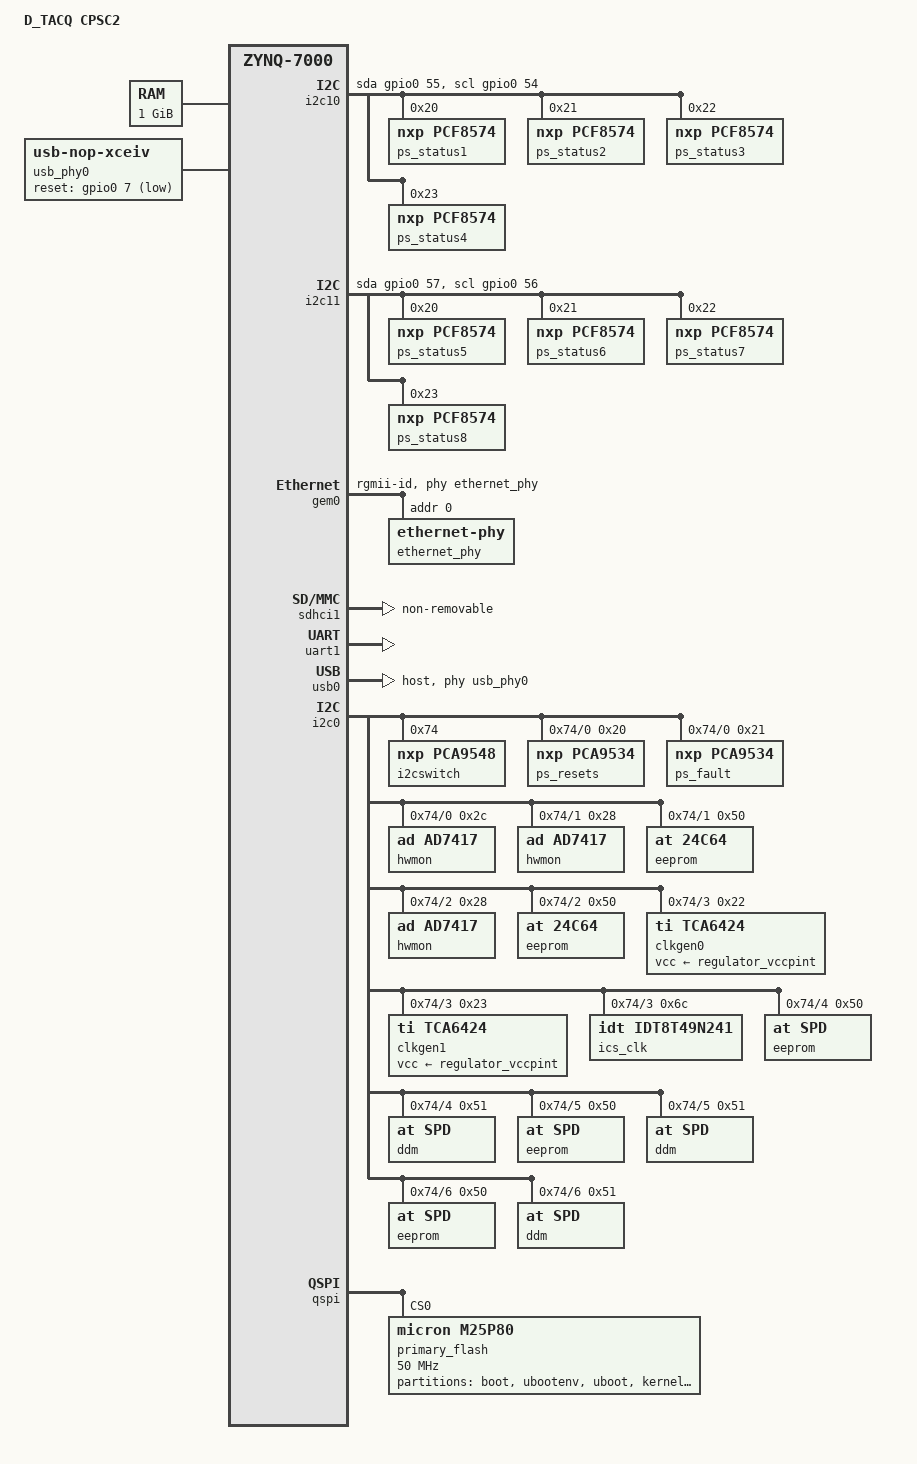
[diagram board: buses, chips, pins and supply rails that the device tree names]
/dts-v1/;
/include/ "zynq-7000.dtsi"

/ {
	model = "D_TACQ CPSC2";
	compatible = "avnet,picozed", "xlnx,zynq-7000";

	aliases {
		ethernet0 = &gem0;
		serial0 = &uart1;
		i2c0 = &i2c0;
		i2c10 = &i2c10;
		i2c11 = &i2c11;
	};

	memory {
		device_type = "memory";
		reg = <0x0 0x40000000>;
	};

	chosen {
		bootargs = "earlyprintk";
		stdout-path = "serial0:115200n8";
	};

	usb_phy0: phy0 {
		compatible = "usb-nop-xceiv";
		#phy-cells = <0>;
		reset-gpios = <&gpio0 7 1>; /* MIO 7, GPIO_ACTIVE_LOW */
	};
	
	
	/* Backplane i2c monitors WORKTODO.  */
	/* the gpio numbers will CERTAINLY need to update, maybe other items check i2c-gpio.txt */
		
	i2c10: i2c-gpioA {
		status = "okay";
		compatible = "i2c-gpio";		
		gpios = <&gpio0 55 0   /* SDA Bank2 EMIO 1 */
			 &gpio0 54 0>; /* SCL Bank2 EMIO 0 */
		i2c-gpio,delay-us = <2>;        /* ~100 kHz */
		#address-cells = <1>;
		#size-cells = <0>;

		ps_status1: gpio@20 {
			compatible="nxp,pcf8574";
			reg=<0x20>;
		};
		ps_status2: gpio@21 {
			compatible="nxp,pcf8574";
			reg=<0x21>;
		};
		ps_status3: gpio@22 {
			compatible="nxp,pcf8574";
			reg=<0x22>;
		};
		ps_status4: gpio@23 {
			compatible="nxp,pcf8574";
			reg=<0x23>;
		};
	};
	i2c11: i2c-gpioB {
		status = "okay";
		compatible = "i2c-gpio";
		gpios = <&gpio0 57 0   /* SDA Bank2 EMIO 3 */
			 &gpio0 56 0>; /* SCL Bank2 EMIO 2 */
		i2c-gpio,delay-us = <2>;        /* ~100 kHz */
		#address-cells = <1>;
		#size-cells = <0>;

		ps_status5: gpio@20 {
			compatible="nxp,pcf8574";
			reg=<0x20>;
		};
		ps_status6: gpio@21 {
			compatible="nxp,pcf8574";
			reg=<0x21>;
		};
		ps_status7: gpio@22 {
			compatible="nxp,pcf8574";
			reg=<0x22>;
		};
		ps_status8: gpio@23 {
			compatible="nxp,pcf8574";
			reg=<0x23>;
		};
	};	
};

&gem0 {
	status = "okay";
	phy-mode = "rgmii-id";
	phy-handle = <&ethernet_phy>;

	ethernet_phy: ethernet-phy@0 {
		device_type = "ethernet-phy";
		reg = <0>;
	};
};

&sdhci1 {
	status = "okay";
	/* SD1 is onnected to a non-removable eMMC flash device */
	non-removable;
};

&uart1 {
	status = "okay";
};

&usb0 {
	status = "okay";
	dr_mode = "host";
	usb-phy = <&usb_phy0>;
};

&i2c0 {
	status = "okay";
	
	i2c-reset = <&gpio0 46 0>;
	i2cswitch@74 {
		compatible = "nxp,pca9548";
		#address-cells = <1>;
		#size-cells = <0>;
		reg = <0x74>;
		
		i2c_mb: i2c@0 {
			#address-cells = <1>;
			#size-cells = <0>;
			reg = <0>;
		
			ps_resets: gpio@20 {
				compatible="nxp,pca9534";
				reg=<0x20>;				
			};
			ps_fault: gpio@21 {
				compatible="nxp,pca9534";
				reg=<0x21>;				
			};			
			hwmon@2c {
				compatible="ad,ad7417";
				reg=<0x2c>;
			};
		};
		i2c_site1: i2c@1  {
			#address-cells = <1>;
			#size-cells = <0>;
			reg = <0x1>;

			hwmon@48 {
				compatible="ad,ad7417";
				reg=<0x28>;
			};			
			eeprom@50 {
				compatible = "at,24c64";
				reg = <0x50>;
			};

		};
		i2c_site2: i2c@2  {
			#address-cells = <1>;
			#size-cells = <0>;
			reg = <0x2>;

			hwmon@48 {
				compatible="ad,ad7417";
				reg=<0x28>;
			};			
			eeprom@50 {
				compatible = "at,24c64";
				reg = <0x50>;
			};

		};
		i2c_clkgen: i2c@3 {
			#address-cells = <1>;
			#size-cells = <0>;
			reg = <0x3>;

			clkgen0: gpio@22 {
				compatible="ti,tca6424";
				vcc-supply = <&regulator_vccpint>;
				interrupt-parent = <&intc>;
				interrupts = <0 0>;
				reg=<0x22>;
			};
			clkgen1: gpio@23 {
				compatible="ti,tca6424";
				vcc-supply = <&regulator_vccpint>;
				interrupt-parent = <&intc>;
				interrupts = <0 0>;
				reg=<0x23>;
			};
			ics_clk: clk@6c {
				compatible="idt,idt8t49n241";
				reg=<0x6c>;
			};
		};
		i2c_sfp1: i2c@4 {
			#address-cells = <1>;
			#size-cells = <0>;
			reg = <0x4>;

			eeprom@50 {
				compatible = "at,spd";								
				reg = <0x50>;
				read-only;
			};
			ddm@51 {
				compatible = "at,spd";
				reg = <0x51>;
				read-only;													
			};			
		};
		i2c_sfp2: i2c@5 {
			#address-cells = <1>;
			#size-cells = <0>;
			reg = <0x5>;

			eeprom@50 {
				compatible = "at,spd";								
				reg = <0x50>;
				read-only;
			};
			ddm@51 {
				compatible = "at,spd";
				reg = <0x51>;
				read-only;													
			};
		};
		i2c_sfp3: i2c@6 {
			#address-cells = <1>;
			#size-cells = <0>;
			reg = <0x6>;

			eeprom@50 {
				compatible = "at,spd";								
				reg = <0x50>;
				read-only;
			};
			ddm@51 {
				compatible = "at,spd";
				reg = <0x51>;
				read-only;													
			};
		};
	};
};



&qspi {
	status = "okay";
	primary_flash: ps7-qspi@0 {
		#address-cells = <1>;
		#size-cells = <1>;
		compatible = "micron,m25p80", "spansion,s25fl128s", "jedec,spi-nor";
		reg = <0x0>;
		spi-max-frequency = <50000000>;
		/* Example 16M partition table using U-Boot + U-Boot SPL */
		partition@0x0 {
			label = "boot";
			reg = <0x0 0xe0000>;
		};
		partition@0xe0000 {
			label = "ubootenv";
			reg = <0xe0000 0x20000>;
		};
		partition@0x100000 {
			label = "uboot";
			reg = <0x100000 0x100000>;
		};
		partition@0x200000 {
			label = "kernel";
			reg = <0x200000 0x4f0000>;
		};
		partition@0x6f0000 {
			label = "devicetree";
			reg = <0x6f0000 0x10000>;
		};
		partition@0x700000 {
			label = "rootfs";
			reg = <0x700000 0x400000>;
		};
		partition@0xb00000 {
			label = "spare";
			reg = <0xb00000 0x500000>;
		};
	};
};


